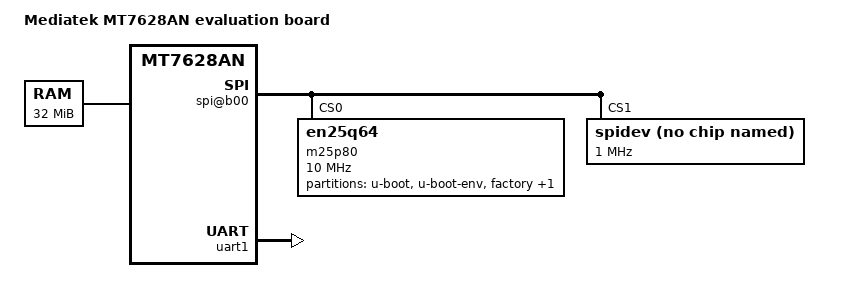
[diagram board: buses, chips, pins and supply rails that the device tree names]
/dts-v1/;

/include/ "mt7628an.dtsi"

/ {
	compatible = "mediatek,mt7628an-eval-board", "mediatek,mt7628an-soc";
	model = "Mediatek MT7628AN evaluation board";

	memory@0 {
		device_type = "memory";
		reg = <0x0 0x2000000>;
	};

	pinctrl {
		state_default: pinctrl0 {
			gpio {
				ralink,group = "i2c", "jtag", "i2s"; // add sx1302 support by zhaoyu at 2021.05.28
				ralink,function = "gpio";
			};
		};
	};

	palmbus@10000000 {
		spi@b00 {
			status = "okay";

			m25p80@0 {
				#address-cells = <1>;
				#size-cells = <1>;
				compatible = "en25q64";
				reg = <0 0>;
				linux,modalias = "m25p80", "en25q64";
				spi-max-frequency = <10000000>;
				m25p,chunked-io = <32>;

				partition@0 {
					label = "u-boot";
					reg = <0x0 0x30000>;
					read-only;
				};

				partition@30000 {
					label = "u-boot-env";
					reg = <0x30000 0x10000>;
					read-only;
				};

				factory: partition@40000 {
					label = "factory";
					reg = <0x40000 0x10000>;
					read-only;
				};

				partition@50000 {
					label = "firmware";
					reg = <0x50000 0x7b0000>;
				};
			};
			spidev@1 { // add sx1302 spi support by zhaoyu at 2021.05.28
				#address-cells = <1>;
				#size-cells = <1>;
				compatible = "rohm,dh2228fv";
				reg = <1 0>;
				spi-max-frequency = <1000000>;
			};
		};
	};
};

// &i2c_pins { // add sx1302 i2c to gpio support by zhaoyu at 2021.05.28
// 	ralink,group = "i2c";
// 	ralink,function = "gpio";
// 	status = "okay";
// };

// &pcm_i2s_pins { // add sx1302 i2s to gpio support by zhaoyu at 2021.05.28
// 	ralink,group = "i2s";
// 	ralink,function = "gpio";
// 	status = "okay";
// };

&uart1 {
	rts-gpio = <&gpio0 0 0>;
	rs485-rts-active-high;
	rs485-rts-delay = <0 0>;
	linux,rs485-enabled-at-boot-time;
	status = "okay";
};
